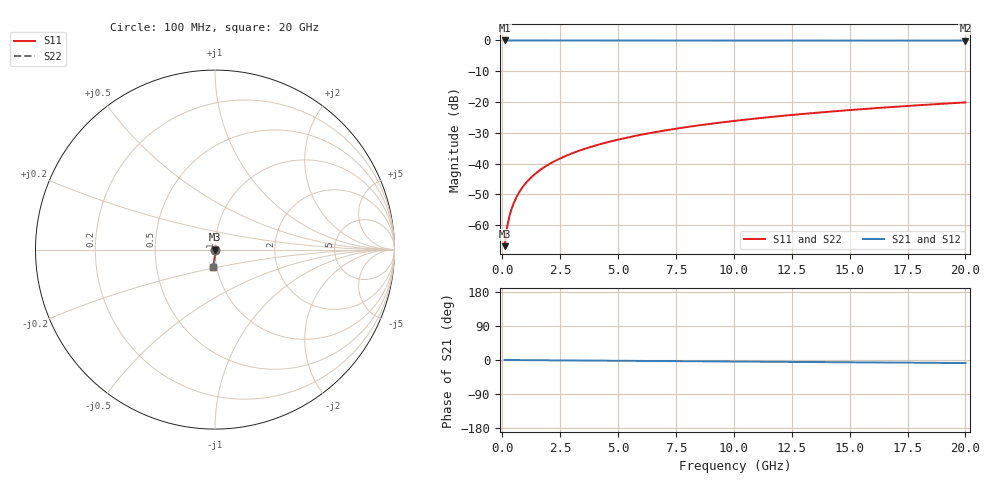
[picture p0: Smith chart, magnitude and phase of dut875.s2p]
! Touchstone file exported from HFSS 2026.1.0
!  File:  C:/ffzhzh/LocalFiles/Ansys_Project_Files/temp_train_TSV_875_1783185648_18472.aedt
!  Generated:  01:22:02 AM Jul  5, 2026
!  Design:  TSV
!  Project:  temp_train_TSV_875_1783185648_18472
! Variables:
!  h_bsmrdl = 2um
!  h_ox = 20um
!  h_rdl = 5um
!  h_sub = 60.39um
!  h_tmrdl = 5um
!  h_tsv = 60.39um
!  h_via = 3um
!  l_bsmrdl = 300um
!  l_sub = 423.4um
!  l_tmrdl = 200um
!  m_sub = 200um
!  pitch = 26.96um
!  r_tsv = 11.7um
!  s_tmrdl = 10um
!  w_bsmrdl = 18um
!  w_sub = 500um
!  w_tmrdl = 12um
!  x_tsv_center1 = 206um
!  x_tsv_center2 = 524um
!  x_tsv_center3 = 736um
!  x_tsv_center4 = 1054um
!  x_tsv_center5 = 1266um
!  x_tsv_center6 = 1584um
# GHz S MA R 50.000000
! Terminal data exported
! Port[1] = TSV1_1_T1
! Port[2] = TSV1_1_T2
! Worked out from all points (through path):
!   200 points, 100 MHz to 20 GHz, reference 50 ohm
!   highest |S21| = 0.00 dB at 100 MHz (marker M1); lowest = -0.1 dB at 20 GHz (marker M2)
!   group delay of S21, straight-line fit = 1.11 ps
!   lowest |S11| = -66.9 dB at 100 MHz (marker M3), VSWR 1.00, Z = 50 - j0.0443 ohm
!   |S11| at or under -10 dB: start of sweep to end of sweep
!   |S22| runs from -66.9 to -20.1 dB; largest |S21 - S12| = 3e-15
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0.1  0.000454 -77.5  0.9999 -0.0  0.9999 -0.0  0.000454 -77.5
! Gamma 0 0 0 0
! Port Impedance 50 0 50 0
0.2  0.0008995 -82.6  0.9999 -0.1  0.9999 -0.1  0.0008995 -82.6
0.3  0.001357 -84.1  0.9999 -0.1  0.9999 -0.1  0.001357 -84.1
0.4  0.001824 -84.8  0.9998 -0.2  0.9998 -0.2  0.001824 -84.8
0.5  0.0023 -85.2  0.9998 -0.2  0.9998 -0.2  0.0023 -85.2
0.7  0.003268 -85.9  0.9997 -0.3  0.9997 -0.3  0.003268 -85.9
0.8  0.003757 -86.2  0.9997 -0.3  0.9997 -0.3  0.003757 -86.2
1  0.004739 -86.7  0.9997 -0.4  0.9997 -0.4  0.004739 -86.7
1.2  0.005722 -87.1  0.9996 -0.5  0.9996 -0.5  0.005722 -87.1
1.4  0.006706 -87.5  0.9996 -0.6  0.9996 -0.6  0.006706 -87.5
1.7  0.008181 -88.0  0.9996 -0.7  0.9996 -0.7  0.008181 -88.0
2  0.009656 -88.4  0.9995 -0.8  0.9995 -0.8  0.009656 -88.4
2.7  0.0131 -89.1  0.9994 -1.1  0.9994 -1.1  0.0131 -89.1
3.5  0.01703 -89.6  0.9993 -1.4  0.9993 -1.4  0.01703 -89.6
4.2  0.02049 -90.1  0.9992 -1.7  0.9992 -1.7  0.02049 -90.1
5  0.02444 -90.5  0.9991 -2.0  0.9991 -2.0  0.02444 -90.5
6.8  0.03335 -91.4  0.9987 -2.8  0.9987 -2.8  0.03335 -91.4
8.3  0.04078 -92.2  0.9983 -3.4  0.9983 -3.4  0.04078 -92.2
10.1  0.04969 -93.0  0.9978 -4.1  0.9978 -4.1  0.04969 -93.0
13.4  0.06601 -94.5  0.9967 -5.4  0.9967 -5.4  0.06601 -94.5
16.7  0.08227 -95.9  0.9954 -6.7  0.9954 -6.7  0.08226 -95.9
20  0.09846 -97.2  0.9938 -8.0  0.9938 -8.0  0.09846 -97.2
